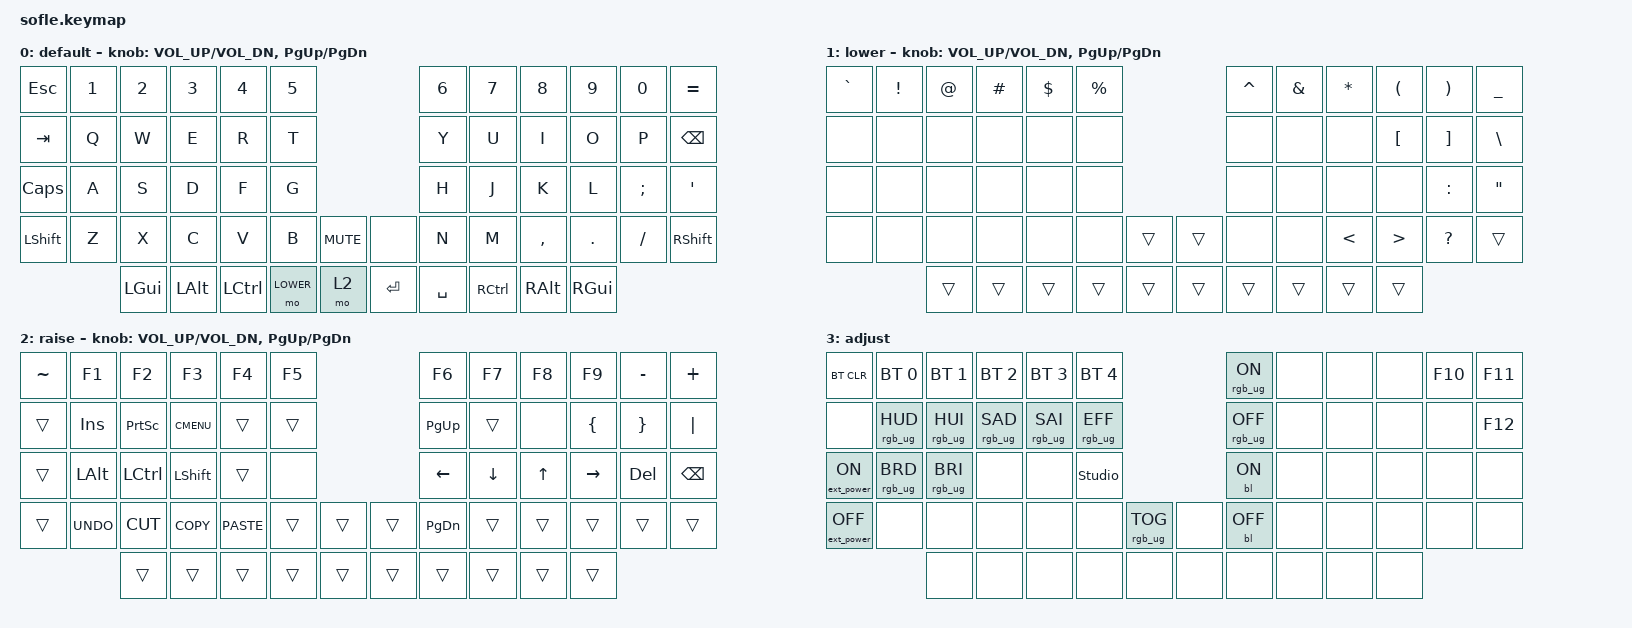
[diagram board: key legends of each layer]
/*
 * Copyright (c) 2020 The ZMK Contributors
 *
 * SPDX-License-Identifier: MIT
 */

#include <behaviors.dtsi>
#include <dt-bindings/zmk/backlight.h>
#include <dt-bindings/zmk/bt.h>
#include <dt-bindings/zmk/ext_power.h>
#include <dt-bindings/zmk/keys.h>
#include <dt-bindings/zmk/rgb.h>

#define BASE 0
#define LOWER 1
#define RAISE 2
#define ADJUST 3

/ {
    // Activate ADJUST layer by pressing raise and lower

    conditional_layers {
        compatible = "zmk,conditional-layers";

        adjust_layer {
            if-layers = <LOWER RAISE>;
            then-layer = <ADJUST>;
        };
    };

    keymap {
        compatible = "zmk,keymap";

        default_layer {
            display-name = "default";

            // ------------------------------------------------------------------------------------------------------------
            // |   `   |  1  |  2  |  3   |  4   |  5   |                   |  6   |  7    |  8    |  9   |   0   |       |
            // |  ESC  |  Q  |  W  |  E   |  R   |  T   |                   |  Y   |  U    |  I    |  O   |   P   | BKSPC |
            // |  TAB  |  A  |  S  |  D   |  F   |  G   |                   |  H   |  J    |  K    |  L   |   ;   |   '   |
            // | SHIFT |  Z  |  X  |  C   |  V   |  B   |  MUTE  |  |       |  N   |  M    |  ,    |  .   |   /   | SHIFT |
            //               | GUI | ALT  | CTRL | LOWER|  ENTER |  | SPACE | RAISE| CTRL  | ALT   | GUI  |

            bindings = <
&kp ESC         &kp N1  &kp N2    &kp N3    &kp N4     &kp N5                              &kp N6     &kp N7     &kp N8     &kp N9    &kp N0    &kp EQUAL
&kp TAB         &kp Q   &kp W     &kp E     &kp R      &kp T                               &kp Y      &kp U      &kp I      &kp O     &kp P     &kp BSPC
&kp CAPSLOCK    &kp A   &kp S     &kp D     &kp F      &kp G                               &kp H      &kp J      &kp K      &kp L     &kp SEMI  &kp SQT
&kp LEFT_SHIFT  &kp Z   &kp X     &kp C     &kp V      &kp B      &kp C_MUTE    &none      &kp N      &kp M      &kp COMMA  &kp DOT   &kp FSLH  &kp RSHFT
                        &kp LGUI  &kp LALT  &kp LCTRL  &mo LOWER  &mo 2         &kp ENTER  &kp SPACE  &kp RCTRL  &kp RALT   &kp RGUI
            >;

            sensor-bindings = <&inc_dec_kp C_VOL_UP C_VOL_DN &inc_dec_kp PG_UP PG_DN>;
        };

        lower_layer {
            display-name = "lower";

            // TODO: Some binds are waiting for shifted keycode support.
            // ------------------------------------------------------------------------------------------------------------
            // |       |  F1 |  F2 |  F3  |  F4  |  F5  |                   |  F6  |  F7   |  F8   |  F9  |  F10  |  F11  |
            // |   `   |  1  |  2  |  3   |  4   |  5   |                   |  6   |  7    |  8    |  9   |   0   |  F12  |
            // |       |  !  |  @  |  #   |  $   |  %   |                   |  ^   |  &    |  *    |  (   |   )   |   |   |
            // |       |  =  |  -  |  +   |  {   |  }   |        |  |       |  [   |  ]    |  ;    |  :   |   \   |       |
            //               |     |      |      |      |        |  |       |      |       |       |      |

            bindings = <
&kp GRAVE  &kp EXCLAMATION  &kp AT_SIGN  &kp HASH  &kp DOLLAR  &kp PERCENT                    &kp CARET  &kp AMPERSAND  &kp ASTERISK   &kp LEFT_PARENTHESIS  &kp RIGHT_PARENTHESIS  &kp UNDERSCORE
&none      &none            &none        &none     &none       &none                          &none      &none          &none          &kp LEFT_BRACKET      &kp RIGHT_BRACKET      &kp BACKSLASH
&none      &none            &none        &none     &none       &none                          &none      &none          &none          &none                 &kp COLON              &kp DOUBLE_QUOTES
&none      &none            &none        &none     &none       &none        &trans    &trans  &none      &none          &kp LESS_THAN  &kp GREATER_THAN      &kp QUESTION           &trans
                            &trans       &trans    &trans      &trans       &trans    &trans  &trans     &trans         &trans         &trans
            >;

            sensor-bindings = <&inc_dec_kp C_VOL_UP C_VOL_DN &inc_dec_kp PG_UP PG_DN>;
        };

        raise_layer {
            display-name = "raise";

            // ------------------------------------------------------------------------------------------------------------
            // | BTCLR | BT1  | BT2  |  BT3  |  BT4  |  BT5 |                |      |      |       |      |       |       |
            // |       | INS  | PSCR | GUI   |       |      |                | PGUP |      |   ^   |      |       |       |
            // |       | ALT  | CTRL | SHIFT |       | CAPS |                | PGDN |   <- |   v   |  ->  |  DEL  | BKSPC |
            // |       | UNDO | CUT  | COPY  | PASTE |      |      |  |      |      |      |       |      |       |       |
            //                |      |       |       |      |      |  |      |      |      |       |      |

            bindings = <
&kp TILDE  &kp F1      &kp F2     &kp F3       &kp F4       &kp F5                    &kp F6         &kp F7    &kp F8        &kp F9          &kp MINUS        &kp PLUS
&trans     &kp INS     &kp PSCRN  &kp K_CMENU  &trans       &trans                    &kp PG_UP      &trans    &none         &kp LEFT_BRACE  &kp RIGHT_BRACE  &kp PIPE
&trans     &kp LALT    &kp LCTRL  &kp LSHFT    &trans       &none                     &kp LEFT       &kp DOWN  &kp UP_ARROW  &kp RIGHT       &kp DEL          &kp BSPC
&trans     &kp K_UNDO  &kp K_CUT  &kp K_COPY   &kp K_PASTE  &trans  &trans    &trans  &kp PAGE_DOWN  &trans    &trans        &trans          &trans           &trans
                       &trans     &trans       &trans       &trans  &trans    &trans  &trans         &trans    &trans        &trans
            >;

            sensor-bindings = <&inc_dec_kp C_VOL_UP C_VOL_DN &inc_dec_kp PG_UP PG_DN>;
        };

        adjust_layer {
            // ----------------------------------------------------------------------------------------------------------------------------
            // | BTCLR  |  BT1    |  BT2    |   BT3   |   BT4   |   BT5   |                  |      |      |       |      |       |       |
            // | EXTPWR | RGB_HUD | RGB_HUI | RGB_SAD | RGB_SAI | RGB_EFF |                  |      |      |       |      |       |       |
            // |        | RGB_BRD | RGB_BRI |         |         |         |                  |      |      |       |      |       |       |
            // |        |         |         |         |         |         | RGB_TOG | |      |      |      |       |      |       |       |
            //                    |         |         |         |         |         | |      |      |      |       |      |

            display-name = "adjust";
            bindings = <
&bt BT_CLR         &bt BT_SEL 0     &bt BT_SEL 1     &bt BT_SEL 2     &bt BT_SEL 3     &bt BT_SEL 4                               &rgb_ug RGB_ON   &none  &none  &none  &kp F10  &kp F11
&none              &rgb_ug RGB_HUD  &rgb_ug RGB_HUI  &rgb_ug RGB_SAD  &rgb_ug RGB_SAI  &rgb_ug RGB_EFF                            &rgb_ug RGB_OFF  &none  &none  &none  &none    &kp F12
&ext_power EP_ON   &rgb_ug RGB_BRD  &rgb_ug RGB_BRI  &none            &none            &studio_unlock                             &bl BL_ON        &none  &none  &none  &none    &none
&ext_power EP_OFF  &none            &none            &none            &none            &none            &rgb_ug RGB_TOG    &none  &bl BL_OFF       &none  &none  &none  &none    &none
                                    &none            &none            &none            &none            &none              &none  &none            &none  &none  &none
            >;
        };
    };
};
